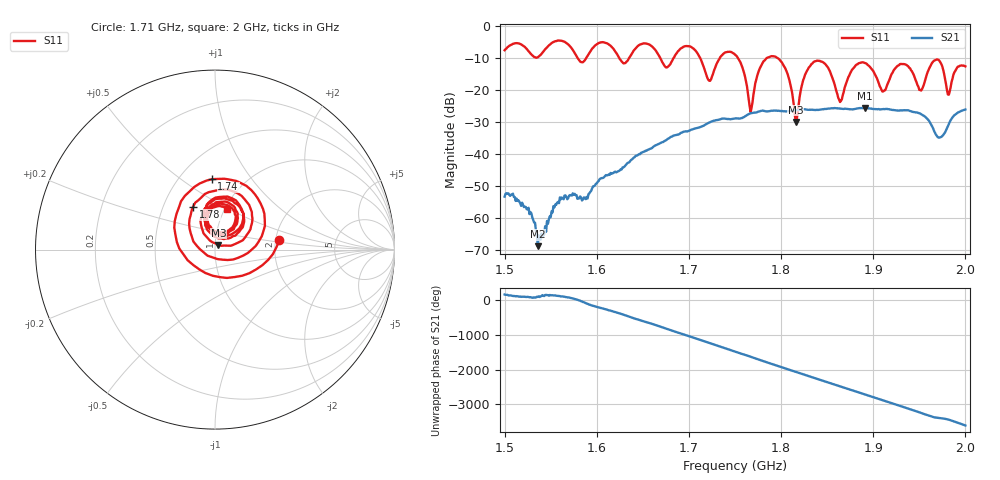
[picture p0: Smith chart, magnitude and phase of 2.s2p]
! NanoVNA-App by SYSJOINT et al v1.1.209 (+OD18)
! Date: 2026-01-21 14:14:07
! Start: 1,5GHz Stop: 2GHz Points: 501
! S-Parameter data: F S11 S21 S12 S22
# Hz S RI R 50
!  Frequency  S11_Real  S11_Imag  S21_Real  S21_Imag  S12_Real  S12_Imag  S22_Real  S22_Imag
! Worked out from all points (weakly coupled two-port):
!   501 points, 1.5 GHz to 2 GHz, reference 50 ohm
!   highest |S21| = -25.49 dB at 1.891 GHz (marker M1); lowest = -68.7 dB at 1.536 GHz (marker M2)
!   lowest |S11| = -29.8 dB at 1.816 GHz (marker M3), VSWR 1.07, Z = 51.8 + j2.72 ohm
!   |S11| at or under -10 dB: 1.712 GHz to 1.733 GHz (21.06 MHz wide, 1.22 % of centre); 1.753 GHz to 1.784 GHz (30.78 MHz wide, 1.74 % of centre); 1.797 GHz to end of sweep (the widest 3 of 6)
!   S12 and S22 are empty: the file has one direction only
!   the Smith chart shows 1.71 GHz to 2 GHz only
!   S11 on the Smith chart (normalised r, x): 1.71 GHz: 2.10, +0.26; 1.74 GHz: 0.71, +0.66; 1.78 GHz: 0.70, +0.36; 2 GHz: 1.02, +0.49
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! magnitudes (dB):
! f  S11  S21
! 1.5 GHz  -7.5  -53.2
! 1.536 GHz  -9.7  -68.7
! 1.56 GHz  -4.5  -53.4
! 1.584 GHz  -11.3  -54.4
! 1.667 GHz  -8.9  -36.8
! 1.71 GHz  -8.8  -31.7
! 1.722 GHz  -17.0  -30.1
! 1.74 GHz  -8.1  -28.9
! 1.75 GHz  -8.8  -28.8
! 1.767 GHz  -26.8  -27.2
! 1.78 GHz  -11.4  -26.3
! 1.802 GHz  -11.9  -26.5
! 1.816 GHz  -29.8  -26.2
! 1.834 GHz  -11.6  -26.1
! 1.864 GHz  -23.7  -25.7
! 1.891 GHz  -11.5  -25.5
! 1.917 GHz  -17.0  -25.9
! 1.934 GHz  -11.9  -26.2
! 1.952 GHz  -20.1  -27.5
! 1.972 GHz  -10.9  -34.7
! 1.982 GHz  -21.4  -30.6
! 2 GHz  -12.5  -26.0
